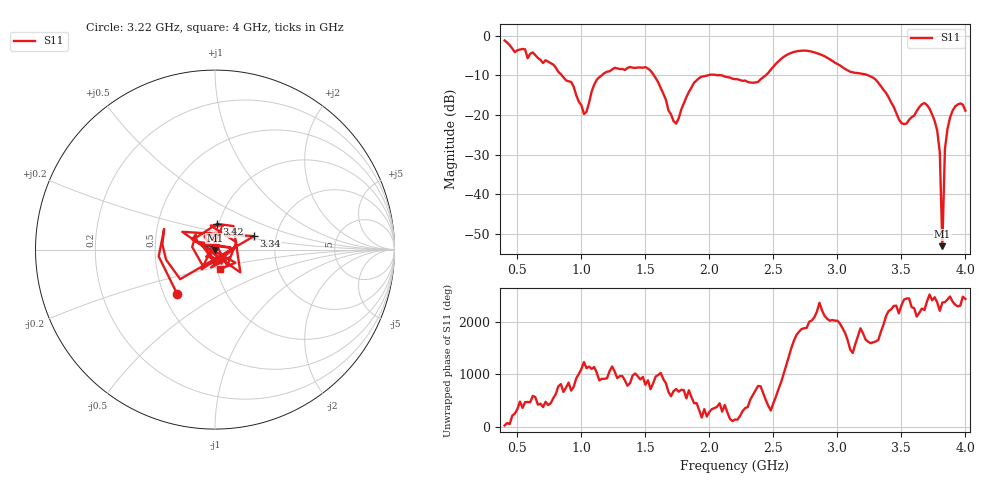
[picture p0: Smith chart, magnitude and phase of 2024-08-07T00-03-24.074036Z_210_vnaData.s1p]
!Created with skrf (http://scikit-rf.org).
# Hz S RI R 50.0
!freq ReS11 ImS11
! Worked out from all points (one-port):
!   181 points, 400 MHz to 4 GHz, reference 50 ohm
!   lowest |S11| = -53.1 dB at 3.82 GHz (marker M1), VSWR 1.00, Z = 49.8 - j0.13 ohm
!   |S11| at or under -10 dB: 1.566 GHz to 1.989 GHz (422.1 MHz wide, 23.7 % of centre); 2.093 GHz to 2.441 GHz (347.6 MHz wide, 15.3 % of centre); 3.239 GHz to end of sweep (the widest 3 of 4)
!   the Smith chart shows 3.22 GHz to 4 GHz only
!   S11 on the Smith chart (normalised r, x): 3.22 GHz: 0.59, -0.32; 3.34 GHz: 1.53, +0.24; 3.42 GHz: 0.98, +0.29; 4 GHz: 1.03, -0.23
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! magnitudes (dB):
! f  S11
! 400 MHz  -1.2
! 860 MHz  -10.5
! 920 MHz  -11.7
! 1.02 GHz  -19.8
! 1.12 GHz  -11.1
! 1.3 GHz  -8.4
! 1.54 GHz  -8.8
! 1.72 GHz  -21.6
! 1.76 GHz  -20.9
! 1.92 GHz  -10.7
! 2.2 GHz  -11.0
! 2.38 GHz  -11.7
! 2.66 GHz  -4.1
! 2.84 GHz  -4.4
! 3.1 GHz  -9.1
! 3.22 GHz  -9.8
! 3.34 GHz  -12.7
! 3.42 GHz  -16.8
! 3.5 GHz  -22.1
! 3.56 GHz  -21.2
! 3.68 GHz  -17.0
! 3.76 GHz  -21.5
! 3.8 GHz  -29.4
! 3.82 GHz  -53.1
! 3.84 GHz  -28.6
! 3.86 GHz  -23.5
! 3.92 GHz  -17.9
! 4 GHz  -18.9
